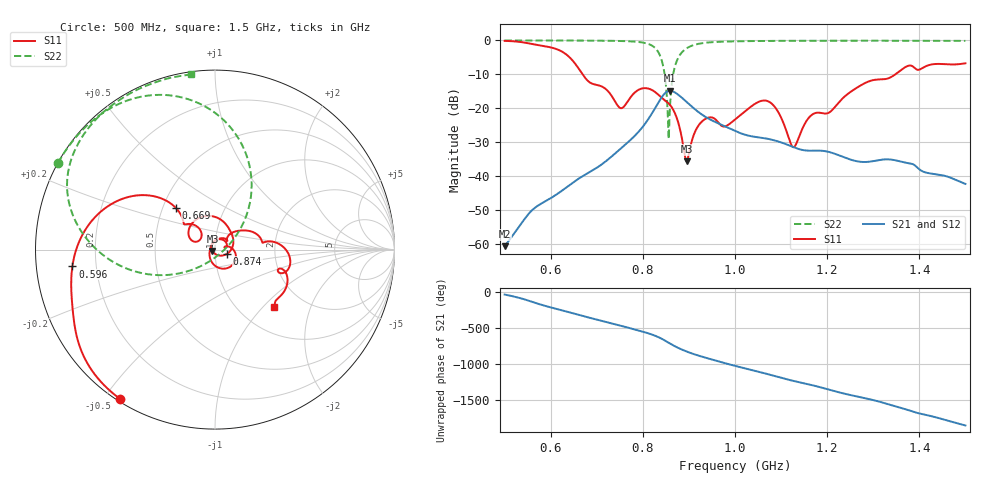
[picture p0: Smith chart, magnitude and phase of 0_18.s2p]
! TOUCHSTONE file generated by CST MICROWAVE STUDIO
! Date and time: Sat Oct 24 11:13:28 2020
! Project name: Scenario_1_Circular_Tissue_in_Line.cst
! Parameters = {L_HA=400; MT=2.54; Rad_Dielectric=30; Rad_Lower=7.3; Rad_Upper=30; a_HA=580; a_WG=246; b_HA=500; b_WG=121; c_HA=0; c_WG=187; d_feed=85; dx1=467.44; h_feed=15; h_lower=18; h_upper=40}
! Header version: 2018
! Port assignment regex: !\s*Touchstone port\s*([0-9]+)\s*=\s*(CST MWS port|CST DS port)\s*([0-9]+|Zmin|Zmax)\s*\(\"(.*)\"\)(\s*mode\s*([0-9]+))?.*
! Touchstone port assignment:
! Touchstone port 1 = CST MWS port 1 ("")
! Touchstone port 2 = CST MWS port 2 ("")
# GHz S DB R 50
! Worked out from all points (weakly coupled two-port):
!   1003 points, 500 MHz to 1.5 GHz, reference 50 ohm
!   highest |S21| = -14.87 dB at 859 MHz (marker M1); lowest = -60.7 dB at 500 MHz (marker M2)
!   lowest |S11| = -35.7 dB at 895 MHz (marker M3), VSWR 1.03, Z = 48.6 - j0.77 ohm
!   |S11| at or under -10 dB: 669.1 MHz to 1.348 GHz (678.9 MHz wide, 67.3 % of centre)
!   |S22| runs from -29.1 to 0.0 dB; largest |S21 - S12| = 4.9e-05
!   S11 on the Smith chart (normalised r, x): 500 MHz: 0.01, -0.55; 596 MHz: 0.11, -0.06; 669 MHz: 0.59, +0.30; 874 MHz: 1.14, -0.06; 1.5 GHz: 1.44, -1.16
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0.5  -0.13 -122.4  -60.71 -31.9  -60.71 -31.9  -0.01 151.1
0.596  -1.94 -173.3  -46.86 156.5  -46.86 156.4  -0.02 144.4
0.637  -4.49 152.2  -43.06 87.9  -43.06 87.9  -0.03 141.1
0.667  -9.58 133.3  -40.26 35.4  -40.26 35.4  -0.04 138.3
0.669  -9.97 133.2  -40.10 31.9  -40.10 31.9  -0.04 138.1
0.752  -20.00 143.1  -31.92 -104.0  -31.92 -104.0  -0.17 127.1
0.796  -14.26 132.3  -26.12 179.7  -26.12 179.7  -0.55 114.2
0.834  -16.07 69.3  -18.25 96.4  -18.25 96.4  -3.56 80.8
0.845  -17.40 51.6  -16.02 60.3  -16.02 60.4  -8.18 58.5
0.854  -18.37 34.8  -15.01 26.8  -15.01 26.8  -21.67 18.8
0.859  -19.05 23.2  -14.87 7.8  -14.87 7.8  -19.27 -127.8
0.867  -20.73 1.6  -15.16 -20.9  -15.16 -20.9  -9.18 -155.8
0.874  -23.03 -19.9  -15.74 -43.9  -15.74 -43.9  -5.94 -168.0
0.895  -35.68 -151.2  -18.15 -102.7  -18.15 -102.7  -2.33 171.1
0.931  -23.60 60.8  -22.13 -179.2  -22.13 -179.2  -0.77 154.0
1  -23.36 15.8  -26.70 58.5  -26.70 58.5  -0.27 140.1
1.072  -17.97 -51.9  -29.05 -58.4  -29.05 -58.4  -0.15 132.2
1.127  -31.51 159.9  -31.51 -151.0  -31.51 -151.0  -0.11 127.3
1.167  -21.94 52.1  -32.53 151.2  -32.53 151.2  -0.10 124.1
1.334  -11.11 8.6  -35.10 -116.9  -35.10 -116.9  -0.09 111.4
1.377  -7.45 -8.4  -36.22 162.9  -36.22 162.9  -0.09 108.1
1.5  -6.75 -43.9  -42.33 -48.8  -42.33 -48.8  -0.13 97.8
